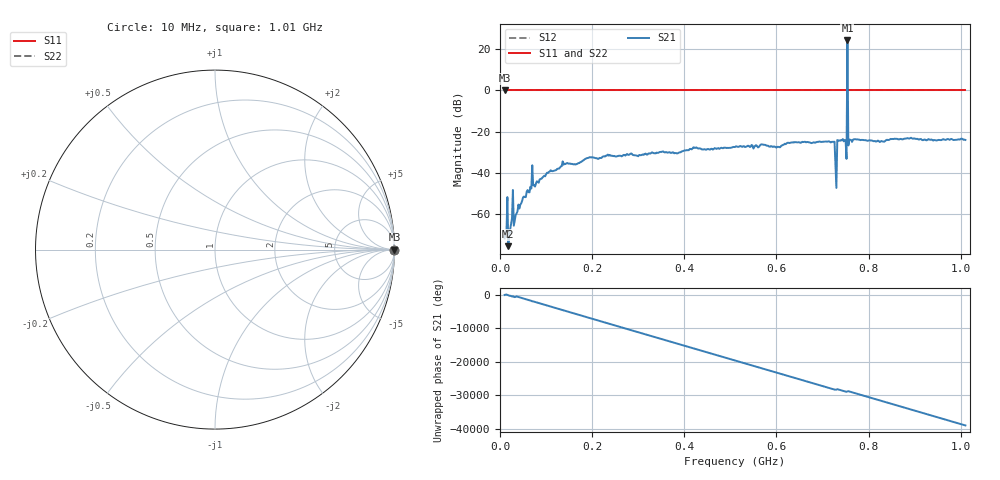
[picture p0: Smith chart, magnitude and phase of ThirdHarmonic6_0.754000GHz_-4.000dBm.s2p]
! 8/16/2025 1:12:19 AM
! C:\ANRITSUVNA\TEMP\TEMP.S2P
! CHANNEL.1
! TR.MEASUREMENT
! RAW.DATA
! RF.CORRECTION.OFF
! AVERAGING.OFF
! IF.BANDWIDTH: 5KHZ
! SWEEPTYPE:  FREQ.SWEEP(Linear)
! Reference Plane Port Info
! PORT:  PORT1  PORT2
! DISTANCE:  0  m  0  m
! TIME:  0  s  0  s
! PHASE.OFFSET:  0  deg.  0  deg.
! LOSS:  0  dB  0  dB
! REF.LOSS:  0  dB  0  dB
! REF.FREQ:  0  Hz  0  Hz
! Power Info
! POWER:  -20  dBm  -20  dBm
! EFF.POWER:  -20  dBm  -20  dBm
! SOURCE.ATTEN:  0  dB  0  dB
! TEST.ATTEN:  0  dB  0  dB
# GHZ S RI R 50.0
! FREQ.GHZ  S11RE  S11IM  S21RE  S21IM  S12RE  S12IM  S22RE  S22IM
!; PortSelection: Port_12
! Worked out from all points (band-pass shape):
!   501 points, 10 MHz to 1.01 GHz, reference 50 ohm
!   highest |S21| = 24.13 dB at 754 MHz (marker M1); lowest = -75.4 dB at 18 MHz (marker M2)
!   |S21| within 3 dB of the highest: 753.8953 MHz to 754.1181 MHz (222.8 kHz wide, 0.0295 % of centre)
!   lowest |S11| = 0.0 dB at 10 MHz (marker M3)
!   |S11| at or under -10 dB: nowhere
!   |S22| runs from 0.0 to 0.0 dB; largest |S21 - S12| = 15
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0.01  1 0  0.0001 -0.00024  1 0  1 0
0.012  1 0  0.000331 0.000183  1 0  1 0
0.018  1 0  -0.000157 -6.24e-05  1 0  1 0
0.022  1 0  0.000189 0.000382  1 0  1 0
0.026  1 0  -0.000785 -9.63e-05  1 0  1 0
0.034  1 0  -0.000493 0.000813  1 0  1 0
0.07  1 0  -0.0153 -0.000826  1 0  1 0
0.178  1 0  -0.0186 -0.00471  1 0  1 0
0.344  1 0  0.0302 -0.00622  1 0  1 0
0.51  1 0  -0.0403 0.0129  1 0  1 0
0.678  1 0  -0.0211 -0.0491  1 0  1 0
0.722  1 0  0.00405 -0.0563  1 0  1 0
0.726  1 0  -0.0233 0.052  1 0  1 0
0.732  1 0  -0.0372 -0.0501  1 0  1 0
0.736  1 0  0.0187 0.0583  1 0  1 0
0.748  1 0  0.0386 -0.049  1 0  1 0
0.75  1 0  -0.0427 -0.0437  1 0  1 0
0.754  1 0  10.12 -12.5  1 0  1 0
0.758  1 0  -0.00715 -0.0639  1 0  1 0
0.76  1 0  -0.0633 -0.00422  1 0  1 0
0.844  1 0  0.0433 0.0457  1 0  1 0
1.01  1 0  -0.0598 -0.0196  1 0  1 0
